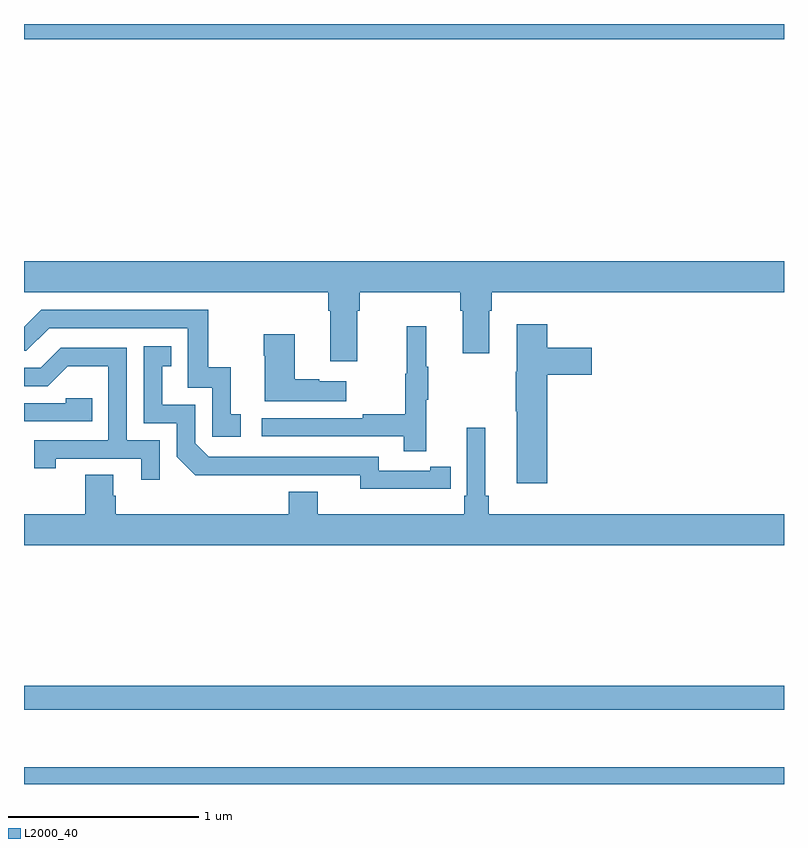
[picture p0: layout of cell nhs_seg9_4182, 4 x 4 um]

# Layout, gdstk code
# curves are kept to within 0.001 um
import gdstk
lib = gdstk.Library(unit=1e-6, precision=1e-09)
def R(c, l, rs):  # rectangles x0, y0, x1, y1
    for r in rs: c.add(gdstk.rectangle(r[:2], r[2:], *l))
def P(c, l, *ps):  # polygons
    for p in ps: c.add(gdstk.Polygon(p, *l))
L2000_40 = (2000, 40)

nhs_seg9_4182 = lib.new_cell('nhs_seg9_4182')
R(nhs_seg9_4182, L2000_40, [(351,1192.5,355,1192.588), (351,1192.89,355,1193.018), (351,1196.42,355,1196.5)])
P(nhs_seg9_4182, L2000_40, [(352.753,1194.992),(352.766,1194.992),(352.766,1195.088),(353.297,1195.088),(353.297,1194.992),(353.309,1194.992),(353.309,1194.768),(353.449,1194.768),(353.449,1194.992),(353.462,1194.992),(353.462,1195.088),(355,1195.088),(355,1195.252),(351,1195.252),(351,1195.088),(352.601,1195.088),(352.601,1194.992),(352.613,1194.992),(352.613,1194.726),(352.753,1194.726)],
  [(352.141,1194.447),(352.088,1194.447),(352.088,1194.694),(351.97,1194.694),(351.97,1194.996),(351.09,1194.996),(351,1194.906),(351,1194.78),(351.012,1194.78),(351.132,1194.9),(351.861,1194.9),(351.861,1194.585),(351.99,1194.585),(351.99,1194.327),(352.141,1194.327)],
  [(353.753,1194.653),(353.989,1194.653),(353.989,1194.795),(353.753,1194.795),(353.753,1194.919),(353.594,1194.919),(353.594,1194.669),(353.587,1194.669),(353.587,1194.463),(353.594,1194.463),(353.594,1194.084),(353.753,1194.084)],
  [(353.117,1194.523),(353.128,1194.523),(353.128,1194.697),(353.117,1194.697),(353.117,1194.91),(353.014,1194.91),(353.014,1194.66),(353.007,1194.66),(353.007,1194.446),(352.783,1194.446),(352.783,1194.426),(352.251,1194.426),(352.251,1194.33),(352.999,1194.33),(352.999,1194.252),(353.117,1194.252)],
  [(352.696,1194.619),(352.553,1194.619),(352.553,1194.629),(352.426,1194.629),(352.426,1194.868),(352.261,1194.868),(352.261,1194.755),(352.268,1194.755),(352.268,1194.515),(352.696,1194.515)],
  [(353.138,1194.054),(353.246,1194.054),(353.246,1194.17),(353.138,1194.17),(353.138,1194.15),(352.866,1194.15),(352.866,1194.222),(351.972,1194.222),(351.9,1194.294),(351.9,1194.495),(351.727,1194.495),(351.727,1194.699),(351.776,1194.699),(351.776,1194.805),(351.63,1194.805),(351.63,1194.399),(351.804,1194.399),(351.804,1194.222),(351.902,1194.125),(352.77,1194.126),(352.77,1194.053)],
  [(351.714,1194.309),(351.54,1194.309),(351.54,1194.795),(351.194,1194.795),(351.089,1194.69),(351,1194.69),(351,1194.594),(351.126,1194.594),(351.23,1194.698),(351.444,1194.698),(351.444,1194.309),(351.055,1194.309),(351.055,1194.162),(351.166,1194.162),(351.166,1194.213),(351.617,1194.213),(351.617,1194.102),(351.714,1194.102)],
  [(351.359,1194.531),(351.219,1194.531),(351.219,1194.504),(351,1194.504),(351,1194.408),(351.359,1194.408)],
  [(355,1193.92),(353.447,1193.92),(353.447,1194.016),(353.428,1194.016),(353.428,1194.376),(353.331,1194.376),(353.331,1194.016),(353.318,1194.016),(353.318,1193.92),(352.546,1193.92),(352.546,1194.037),(352.394,1194.037),(352.394,1193.92),(351.482,1193.92),(351.482,1194.018),(351.469,1194.018),(351.469,1194.128),(351.322,1194.128),(351.322,1193.92),(351,1193.92),(351,1193.756),(355,1193.756)])

lib.write_gds('nhs_seg9_4182.gds')
